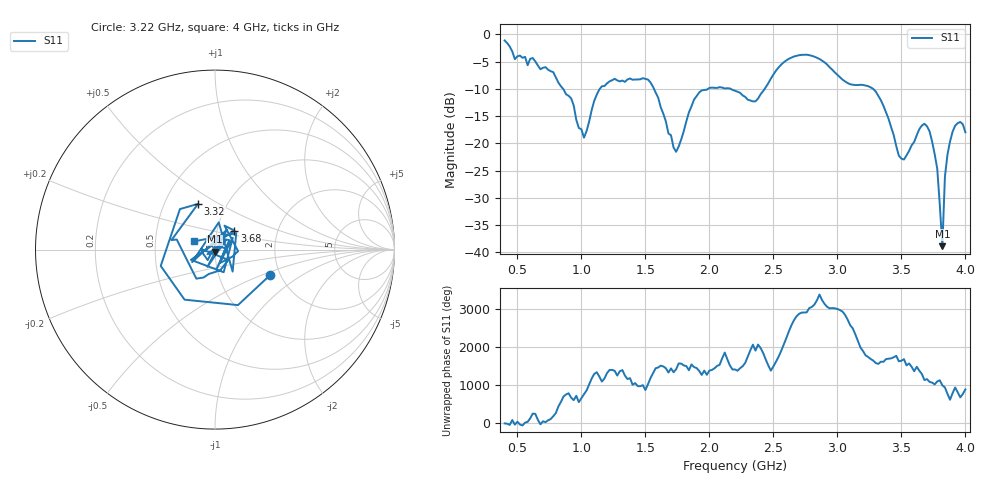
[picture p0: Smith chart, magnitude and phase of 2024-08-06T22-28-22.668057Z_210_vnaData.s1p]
!Created with skrf (http://scikit-rf.org).
# Hz S RI R 50.0
!freq ReS11 ImS11
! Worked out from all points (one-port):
!   181 points, 400 MHz to 4 GHz, reference 50 ohm
!   lowest |S11| = -38.8 dB at 3.82 GHz (marker M1), VSWR 1.02, Z = 49.9 - j1.14 ohm
!   |S11| at or under -10 dB: 857.3 MHz to 1.144 GHz (286.6 MHz wide, 28.6 % of centre); 1.567 GHz to 1.99 GHz (422.7 MHz wide, 23.8 % of centre); 3.279 GHz to end of sweep (the widest 3 of 4)
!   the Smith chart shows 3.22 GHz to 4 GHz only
!   S11 on the Smith chart (normalised r, x): 3.22 GHz: 1.77, -0.57; 3.32 GHz: 0.73, +0.40; 3.68 GHz: 1.21, +0.26; 4 GHz: 0.79, +0.07
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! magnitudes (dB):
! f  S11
! 400 MHz  -1.1
! 480 MHz  -4.6
! 620 MHz  -4.4
! 860 MHz  -10.1
! 1.02 GHz  -19.0
! 1.14 GHz  -10.1
! 1.3 GHz  -8.6
! 1.52 GHz  -8.3
! 1.72 GHz  -20.8
! 1.76 GHz  -20.6
! 1.92 GHz  -10.7
! 2.2 GHz  -10.4
! 2.36 GHz  -12.3
! 2.66 GHz  -4.1
! 2.86 GHz  -4.5
! 3.1 GHz  -9.2
! 3.22 GHz  -9.4
! 3.32 GHz  -11.3
! 3.48 GHz  -22.3
! 3.56 GHz  -21.4
! 3.68 GHz  -16.4
! 3.72 GHz  -17.8
! 3.78 GHz  -24.6
! 3.82 GHz  -38.8
! 3.84 GHz  -26.1
! 3.88 GHz  -19.6
! 3.94 GHz  -16.3
! 4 GHz  -18.0
